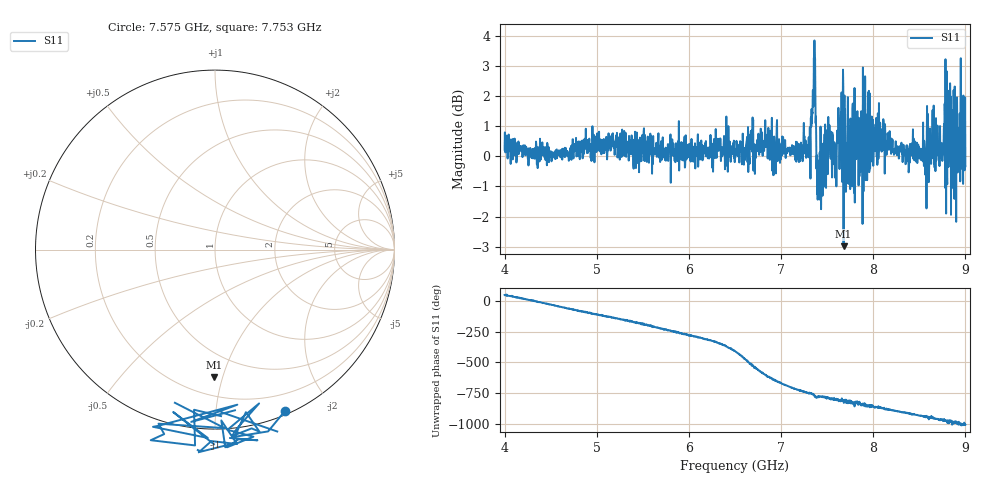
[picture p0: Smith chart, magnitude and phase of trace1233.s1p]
! Created with skrf 1.8.0 (http://scikit-rf.org).
# Hz S RI R 50.0
!freq ReS11 ImS11
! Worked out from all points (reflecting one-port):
!   1601 points, 4 GHz to 9 GHz, reference 50 ohm
!   lowest |S11| = -3.0 dB at 7.678 GHz (marker M1), VSWR 5.88, Z = 16.4 - j46.8 ohm
!   phase of S11 starts at 48 deg and turns -1053 deg over the sweep
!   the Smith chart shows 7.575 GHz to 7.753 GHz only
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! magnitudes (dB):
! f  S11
! 4 GHz  0.2
! 4.625 GHz  -0.1
! 5.25 GHz  -0.1
! 5.875 GHz  0.2
! 6.5 GHz  0.2
! 6.725 GHz  -0.1
! 6.769 GHz  0.3
! 7.125 GHz  0.2
! 7.294 GHz  0.0
! 7.328 GHz  1.0
! 7.347 GHz  2.2
! 7.369 GHz  3.2
! 7.409 GHz  -1.1
! 7.516 GHz  0.5
! 7.575 GHz  -0.2
! 7.65 GHz  1.5
! 7.678 GHz  -3.0
! 7.75 GHz  -1.1
! 7.928 GHz  1.4
! 8.375 GHz  -0.1
! 8.425 GHz  0.4
! 8.588 GHz  -0.7
! 8.656 GHz  1.7
! 8.738 GHz  0.3
! 8.822 GHz  0.5
! 8.875 GHz  1.3
! 8.959 GHz  1.9
! 9 GHz  -0.3
